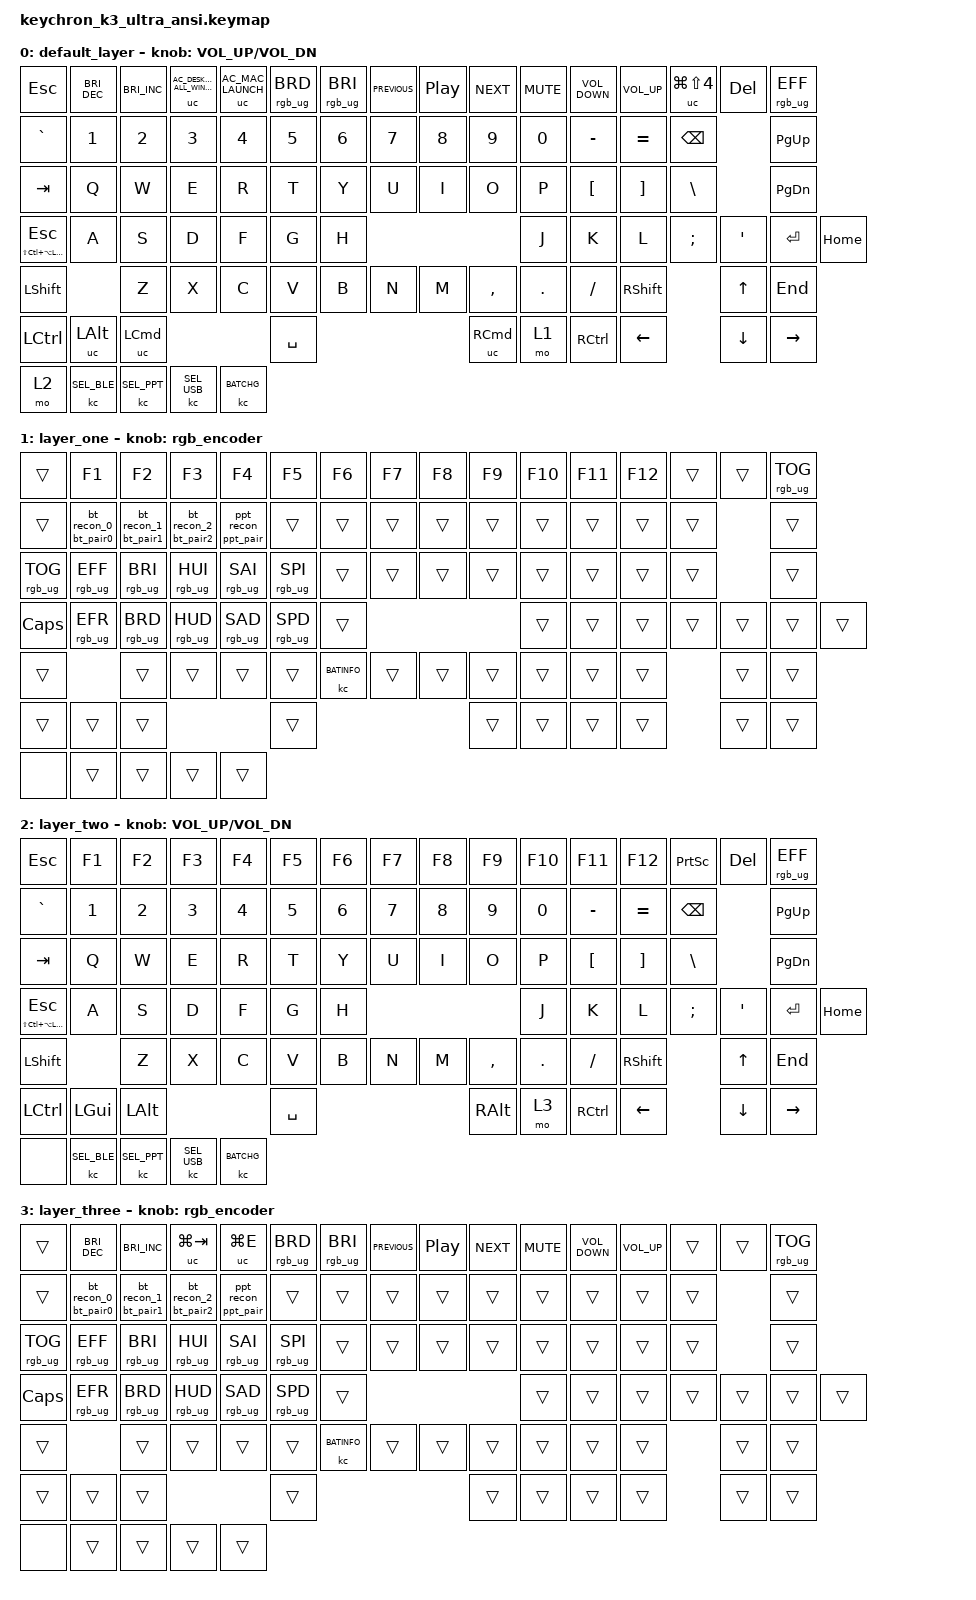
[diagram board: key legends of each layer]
/*
 * Copyright (c) 2023 The ZMK Contributors
 *
 * SPDX-License-Identifier: MIT
 */

#include <behaviors.dtsi>
#include <dt-bindings/zmk/bt.h>
#include <dt-bindings/zmk/keys.h>
#include <dt-bindings/zmk/rgb.h>
#include <dt-bindings/zmk/bt.h>
#include <dt-bindings/zmk/outputs.h>
#include <dt-bindings/zmk/keychron.h>


/ {
    behaviors {
        rgb_encoder: rgb_encoder {
            compatible = "zmk,behavior-sensor-rotate";
            #sensor-binding-cells = <0>;
            bindings = <&rgb_ug RGB_BRI>, <&rgb_ug RGB_BRD>;
            tap-ms =<20>;
        };
        mouse_encoder: mouse_encoder {
            compatible = "zmk,behavior-sensor-rotate-var";
            #sensor-binding-cells = <2>;
            bindings = <&mkp>, <&mkp>;
            tap-ms =<20>;
        };
    };
    macro1:zm_ma{
        compatible = "zmk,behavior-macro-one-param";
        #binding-cells = <1>;
        bindings=<&kp 0x770000>;
    };
    lm: layer_mod {
        compatible = "zmk,behavior-macro-two-param";
        wait-ms = <0>;
        tap-ms = <0>;
        #binding-cells = <2>;
        bindings
            = <&macro_param_1to1>
            , <&macro_press &mo 0>
            , <&macro_param_2to1>
            , <&macro_press &kp 0>
            , <&macro_pause_for_release>
            , <&macro_param_2to1>
            , <&macro_release &kp 0>
            , <&macro_param_1to1>
            , <&macro_release &mo 0>
            ;
    };
    // td1:tapd_layer{
    //     compatible = "zmk,behavior-tap-dance1";
    //     #binding-cells = <1>;
    //     tapping-term-ms = <350>;
    //     bindings =<&mo 0>,<&mo 0>,<&mo 0>,<&mo 0>,<&to 0>;
    // };

    kc_lp:l1{
        compatible = "zmk,behavior-hold-tap";
        #binding-cells = <2>;
        flavor = "tap-preferred";
        tapping-term-ms = <3000>;  // delay amount in ms
        bindings = <&kc>,<&none>;
    };

    long_press_bootloader:lp_bootloader{
        compatible = "zmk,behavior-hold-tap";
        #binding-cells = <2>;
        flavor = "tap-preferred";
        tapping-term-ms = <3000>;  // delay amount in ms
        bindings = <&bootloader>, <&none>;
    };
    // kc_nkro:kc_nkro{
    //     compatible = "zmk,behavior-hold-tap";
    //     #binding-cells = <2>;
    //     flavor = "tap-preferred";
    //     tapping-term-ms = <2000>;  // delay amount in ms
    //     bindings = <&kc NKRO>, <&none>;
    // };
    ZMK_MACRO(bt_pair0, bindings = <&kc BT_PAIR 0>;)
    ZMK_MACRO(bt_pair1, bindings = <&kc BT_PAIR 1>;)
    ZMK_MACRO(bt_pair2, bindings = <&kc BT_PAIR 2>;)
    ZMK_MACRO(ppt_pair, bindings = <&kc PPT_PAIR 0>;)
    ZMK_MACRO(bt_recon_0, bindings = <&kc BT_SEL 0>;)
    ZMK_MACRO(bt_recon_1, bindings = <&kc BT_SEL 1>;)
    ZMK_MACRO(bt_recon_2, bindings = <&kc BT_SEL 2>;)
    ZMK_MACRO(ppt_recon, bindings = <&kc PPT_SEL 0>;)
    


    bt_pair_0: bt_pair_0 {
        compatible = "zmk,behavior-hold-tap";
  
        #binding-cells = <2>;
        flavor = "tap-preferred";
        tapping-term-ms = <3000>;  // delay amount in ms
        bindings = <&bt_pair0>, <&bt_recon_0>;
    };
    bt_pair_1: bt_pair_1 {
        compatible = "zmk,behavior-hold-tap";
 
        #binding-cells = <2>;
        flavor = "tap-preferred";
        tapping-term-ms = <3000>;  // delay amount in ms
        bindings = <&bt_pair1>, <&bt_recon_1>;
    };
    bt_pair_2: bt_pair_2 {
        compatible = "zmk,behavior-hold-tap";

        #binding-cells = <2>;
        flavor = "tap-preferred";
        tapping-term-ms = <3000>;  // delay amount in ms
        bindings = <&bt_pair2>, <&bt_recon_2>;
    };
    ppt_pair_0: ppt_pair_0 {
        compatible = "zmk,behavior-hold-tap";

        #binding-cells = <2>;
        flavor = "tap-preferred";
        tapping-term-ms = <3000>;  // delay amount in ms
        bindings = <&ppt_pair>, <&ppt_recon>;
    };
    uc:user_custom {
        compatible = "zmk,behavior-key-press";
        #binding-cells =<1>;
    };
    // Caps Lock: tap = Esc, hold = Hyper (Ctrl+Shift+Alt+Gui). Kept separate from &mt:
    // the Launcher's MT keeps only the first modifier of a mask, so it cannot express Hyper.
    hyper_esc: hyper_esc {
        compatible = "zmk,behavior-hold-tap";
        #binding-cells = <2>;
        flavor = "hold-preferred";
        tapping-term-ms = <200>;
        bindings = <&kp>, <&kp>;
    };
    combos {
        compatible = "zmk,combos";
        // Base layers only (0 = mac, 2 = win). Horizontal two-finger pairs, no pinkies. Symbol pairs
        // are almost never typed together; prior-idle keeps rolls from firing any of them.
        // Backspace is U+I, a common bigram: it relies on prior-idle (and the short window, as in
        // urob's config) and only fires after a pause; hold U+I to key-repeat.
        combo_bspc    { timeout-ms = <18>; require-prior-idle-ms = <150>; layers = <0 2>; key-positions = <38 39>; bindings = <&kp BSPC>; };   // U+I
        combo_paren_l { timeout-ms = <30>; require-prior-idle-ms = <150>; layers = <0 2>; key-positions = <49 50>; bindings = <&kp LPAR>; };   // D+F
        combo_paren_r { timeout-ms = <30>; require-prior-idle-ms = <150>; layers = <0 2>; key-positions = <53 54>; bindings = <&kp RPAR>; };   // J+K
        combo_brace_l { timeout-ms = <30>; require-prior-idle-ms = <150>; layers = <0 2>; key-positions = <48 49>; bindings = <&kp LBRC>; };   // S+D
        combo_brace_r { timeout-ms = <30>; require-prior-idle-ms = <150>; layers = <0 2>; key-positions = <54 55>; bindings = <&kp RBRC>; };   // K+L
        combo_brkt_l  { timeout-ms = <30>; require-prior-idle-ms = <150>; layers = <0 2>; key-positions = <61 62>; bindings = <&kp LBKT>; };   // Z+X
        combo_brkt_r  { timeout-ms = <30>; require-prior-idle-ms = <150>; layers = <0 2>; key-positions = <68 69>; bindings = <&kp RBKT>; };   // ,+.
        combo_a {
                timeout-ms = <1000>;
                layers =< 1 3>;
                key-positions = <53 61>; //fn+j+z
                bindings = <&kc_lp RCV>;
        };
        // combo_b {
        //         timeout-ms = <1000>;
        //         layers =< 1 3>;
        //         key-positions = <64>; //fn+b
        //         bindings = <&kc BATINFO>;
        // };
        // combo_c {
        //         timeout-ms = <1000>;
        //         layers =< 1 3>;
        //         key-positions = <58 81>; //fn+home+right
        //         bindings = <&kc_lp RGBTEST>;
        // };
         combo_t0 {
            timeout-ms = <10 >;
            layers =<4>;          
            key-positions = <120>;  
            bindings = <&to 3 >;
        };
        combo_t1 {
            timeout-ms = <10 >;
            layers =<4>;
          
            key-positions = <120>;  
            bindings = <&tog 3 >;
        };
        combo_t2 {
            timeout-ms = <10 >;
            layers =<4>;          
            key-positions = <120>;  
            bindings = <&sl 3 >;
        };
        combo_t3 {
            timeout-ms = <10 >;
            layers =<4>;          
            key-positions = <120>;  
            bindings = <&lt 3 SPACE>;
        };
        combo_t4 {
            timeout-ms = <10 >;
            layers =<4>;          
            key-positions = <120>;  
            bindings = <&sk LSHIFT>;
        };
        combo_t5 {
            timeout-ms = <10 >;
            layers =<4>;          
            key-positions = <120>;  
            bindings = <&mt LSHIFT SPACE>;
        };
        combo_t6 {
            timeout-ms = <10 >;
            layers =<4>;          
            key-positions = <120>;  
            bindings = <&gresc>;
        };
        //  combo_t7 {
        //     timeout-ms = <10 >;
        //     layers =<4>;          
        //     key-positions = <120>;  
        //     bindings = <&mkp 0>;
        // };
    };
    keymap {
        compatible = "zmk,keymap";
        //mac
        default_layer {
        bindings = <
          //ESC         //f1                    //f2                //f3                                    //f4                //f5                //f6            //f7            //f8                //f9        //f10       //f11               //f12                                //DEL                                              
        &kp ESC     &kp C_BRIGHTNESS_DEC    &kp C_BRIGHTNESS_INC    &uc C_AC_DESKTOP_SHOW_ALL_WINDOWS   &uc  C_AC_MAC_LAUNCH    &rgb_ug RGB_BRD     &rgb_ug RGB_BRI &kp C_PREVIOUS  &kp C_PLAY_PAUSE    &kp C_NEXT  &kp C_MUTE  &kp C_VOLUME_DOWN   &kp C_VOLUME_UP     &uc LG(LS(N4))   &kp DEL          &rgb_ug RGB_EFF
        &kp GRAVE   &kp N1                  &kp N2                  &kp N3                              &kp N4                  &kp N5              &kp N6          &kp N7          &kp N8              &kp N9      &kp N0      &kp MINUS           &kp EQUAL           &kp BSPC                          &kp PG_UP  
        &kp TAB     &kp Q                   &kp W                   &kp E                               &kp R                   &kp T               &kp Y           &kp U           &kp I               &kp O       &kp P       &kp LBKT            &kp RBKT            &kp BSLH                          &kp PG_DN
        &hyper_esc LS(LC(LA(LGUI))) ESC    &kp A                   &kp S                   &kp D                               &kp F                   &kp G               &kp H           &kp J           &kp K               &kp L       &kp SEMI    &kp SQT                                 &kp RET                           &kp HOME                
        &kp LSHFT                           &kp Z                   &kp X                               &kp C                   &kp V               &kp B           &kp N           &kp M               &kp COMMA   &kp DOT     &kp FSLH            &kp RSHFT                            &kp UP           &kp END
        &kp LCTRL   &uc LALT                &uc LCMD                                                                            &kp SPACE                                                               &uc RCMD    &mo 1       &kp RCTRL           &kp LEFT                             &kp DOWN         &kp RIGHT            
        //keychron control
        &mo 2      &kc SEL_BLE       &kc SEL_PPT     &kc SEL_USB          &kc BATCHG                             
            >;
            sensor-bindings = <&inc_dec_kp C_VOL_UP C_VOL_DN>;
        };
        //mac fn layer
        layer_one  {
        bindings = < 
        &trans              &kp F1                  &kp F2                  &kp F3                              &kp F4                  &kp F5              &kp F6          &kp F7          &kp F8              &kp F9      &kp F10     &kp F11             &kp F12             &trans       &trans      &rgb_ug RGB_TOG
        &trans              &bt_pair_0 0 0          &bt_pair_1 0 0          &bt_pair_2 0 0                      &ppt_pair_0 0 0         &trans              &trans          &trans          &trans              &trans      &trans      &trans              &trans              &trans                   &trans
        &rgb_ug RGB_TOG     &rgb_ug RGB_EFF         &rgb_ug RGB_BRI         &rgb_ug RGB_HUI                     &rgb_ug RGB_SAI         &rgb_ug RGB_SPI     &trans          &trans          &trans              &trans      &trans      &trans              &trans              &trans                   &trans
        &kp CLCK            &rgb_ug RGB_EFR        &rgb_ug RGB_BRD         &rgb_ug RGB_HUD                     &rgb_ug RGB_SAD         &rgb_ug RGB_SPD     &trans          &trans          &trans              &trans      &trans      &trans                                  &trans                   &trans    
        &trans                                      &trans                  &trans                              &trans                  &trans              &kc BATINFO     &trans          &trans              &trans      &trans      &trans              &trans                           &trans      &trans
        &trans              &trans                  &trans                                                                              &trans                                                                  &trans      &trans      &trans              &trans                           &trans      &trans
        //
        &none               &trans                  &trans                   &trans        &trans                                       
        >;
        sensor-bindings = <&rgb_encoder>;
        }; 

        //win
        layer_two {
        bindings = <
        &kp ESC     &kp F1                 &kp F2                   &kp F3                              &kp F4                  &kp F5              &kp F6          &kp F7          &kp F8              &kp F9       &kp F10    &kp F11              &kp F12             &kp PSCRN        &kp DEL          &rgb_ug RGB_EFF
        &kp GRAVE   &kp N1                 &kp N2                   &kp N3                              &kp N4                  &kp N5              &kp N6          &kp N7          &kp N8              &kp N9       &kp N0     &kp MINUS            &kp EQUAL           &kp BSPC                          &kp PG_UP
        &kp TAB     &kp Q                  &kp W                    &kp E                               &kp R                   &kp T               &kp Y           &kp U           &kp I               &kp O        &kp P      &kp LBKT             &kp RBKT            &kp BSLH                          &kp PG_DN
        &hyper_esc LS(LC(LA(LGUI))) ESC    &kp A                  &kp S                    &kp D                               &kp F                   &kp G               &kp H           &kp J           &kp K               &kp L        &kp SEMI   &kp SQT                                  &kp RET                           &kp HOME
        &kp LSHFT                          &kp Z                    &kp X                               &kp C                   &kp V               &kp B           &kp N           &kp M               &kp COMMA    &kp DOT    &kp FSLH             &kp RSHFT                            &kp UP           &kp END
        &kp LCTRL   &kp LGUI               &kp LALT                                                                             &kp SPACE                                                               &kp RALT     &mo 3      &kp RCTRL            &kp LEFT                             &kp DOWN         &kp RIGHT   
        //keychron control
        &none       &kc SEL_BLE        &kc SEL_PPT      &kc SEL_USB            &kc BATCHG                           
        >;
        sensor-bindings = <&inc_dec_kp C_VOL_UP C_VOL_DN>;
        };
        //win fn layer
        layer_three {
        bindings = < 
                                        //f1                        //f2                        //f3                                //f4                        //f5            //f6                //f7            //f8                //f9        //f10           //f11                         //f12                     
        &trans                          &kp C_BRIGHTNESS_DEC        &kp C_BRIGHTNESS_INC        &uc LG(TAB)                         &uc LG(E)               &rgb_ug RGB_BRD     &rgb_ug RGB_BRI     &kp C_PREVIOUS  &kp C_PLAY_PAUSE    &kp C_NEXT  &kp C_MUTE  &kp C_VOLUME_DOWN           &kp C_VOLUME_UP      &trans      &trans          &rgb_ug RGB_TOG                   
        &trans                          &bt_pair_0 0 0              &bt_pair_1 0 0              &bt_pair_2 0 0                      &ppt_pair_0 0 0         &trans              &trans              &trans          &trans              &trans      &trans      &trans                      &trans               &trans                      &trans
        &rgb_ug RGB_TOG                 &rgb_ug RGB_EFF             &rgb_ug RGB_BRI             &rgb_ug RGB_HUI                     &rgb_ug RGB_SAI         &rgb_ug RGB_SPI     &trans              &trans          &trans              &trans      &trans      &trans                      &trans               &trans                      &trans
        &kp CLCK                        &rgb_ug RGB_EFR            &rgb_ug RGB_BRD             &rgb_ug RGB_HUD                     &rgb_ug RGB_SAD         &rgb_ug RGB_SPD     &trans              &trans          &trans              &trans      &trans      &trans                                           &trans                      &trans
        &trans                                                      &trans                      &trans                              &trans                  &trans              &kc BATINFO         &trans          &trans              &trans      &trans      &trans                      &trans                           &trans          &trans
        &trans                          &trans                      &trans                                                                                  &trans                                                                      &trans      &trans      &trans                      &trans                           &trans          &trans
        //
        &none                           &trans                      &trans                      &trans                             &trans                  
        >;
        sensor-bindings = <&rgb_encoder>;
        };        
    };
};
// Used by the Launcher's MT(): the firmware stays in charge of the timing. "balanced" resolves
// to hold when another key is pressed and released inside the term; prior-idle makes fast
// typing resolve to tap with no delay. Same hold-tap node feeds Space Cadet keys.
&mt {
    flavor = "balanced";
    tapping-term-ms = <280>;
    quick-tap-ms = <175>;
    require-prior-idle-ms = <150>;
};
&inc_dec_kp {
    tap-ms=<20>;
};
